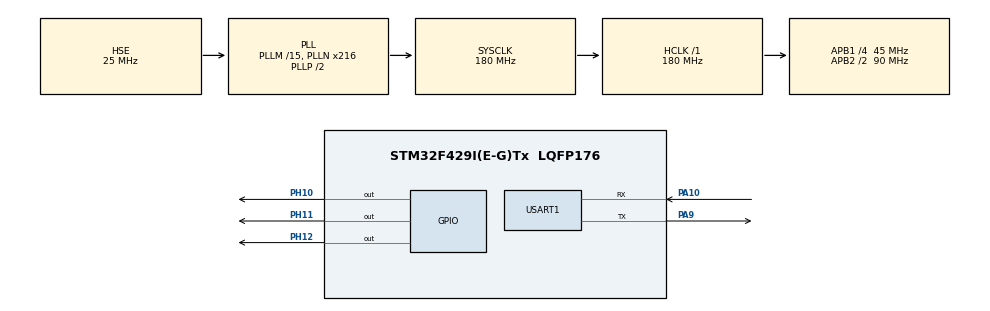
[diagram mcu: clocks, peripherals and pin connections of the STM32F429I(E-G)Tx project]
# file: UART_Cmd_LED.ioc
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Dma.Request0=USART1_RX
Dma.Request1=USART1_TX
Dma.USART1_RX.0.Direction=DMA_PERIPH_TO_MEMORY
Dma.USART1_RX.0.FIFOMode=DMA_FIFOMODE_DISABLE
Dma.USART1_RX.0.Instance=DMA2_Stream2
Dma.USART1_RX.0.MemDataAlignment=DMA_MDATAALIGN_BYTE
Dma.USART1_RX.0.MemInc=DMA_MINC_ENABLE
Dma.USART1_RX.0.Mode=DMA_NORMAL
Dma.USART1_RX.0.PeriphDataAlignment=DMA_PDATAALIGN_BYTE
Dma.USART1_RX.0.PeriphInc=DMA_PINC_DISABLE
Dma.USART1_RX.0.Priority=DMA_PRIORITY_LOW
Dma.USART1_TX.1.Direction=DMA_MEMORY_TO_PERIPH
Dma.USART1_TX.1.FIFOMode=DMA_FIFOMODE_DISABLE
Dma.USART1_TX.1.Instance=DMA2_Stream7
Dma.USART1_TX.1.MemDataAlignment=DMA_MDATAALIGN_BYTE
Dma.USART1_TX.1.MemInc=DMA_MINC_ENABLE
Dma.USART1_TX.1.Mode=DMA_NORMAL
Dma.USART1_TX.1.PeriphDataAlignment=DMA_PDATAALIGN_BYTE
Dma.USART1_TX.1.PeriphInc=DMA_PINC_DISABLE
Dma.USART1_TX.1.Priority=DMA_PRIORITY_LOW
Mcu.Family=STM32F4
Mcu.Name=STM32F429I(E-G)Tx
Mcu.Package=LQFP176
NVIC.DMA2_Stream2_IRQn=true\:0\:0\:false\:false\:true\:false\:true\:true
NVIC.DMA2_Stream7_IRQn=true\:0\:0\:false\:false\:true\:false\:true\:true
NVIC.PriorityGroup=NVIC_PRIORITYGROUP_4
NVIC.USART1_IRQn=true\:0\:0\:false\:false\:true\:false\:true\:true
PA10.Mode=Asynchronous
PA10.Signal=USART1_RX
PA9.Mode=Asynchronous
PA9.Signal=USART1_TX
PH0/OSC_IN.Mode=HSE-External-Oscillator
PH0/OSC_IN.Signal=RCC_OSC_IN
PH1/OSC_OUT.Mode=HSE-External-Oscillator
PH1/OSC_OUT.Signal=RCC_OSC_OUT
PH10.Signal=GPIO_Output
PH11.Signal=GPIO_Output
PH12.Signal=GPIO_Output
ProjectManager.HeapSize=0x200
ProjectManager.StackSize=0x400
ProjectManager.TargetToolchain=MDK-ARM V5.32
RCC.48MHZClocksFreq_Value=90000000
RCC.AHBFreq_Value=180000000
RCC.APB1CLKDivider=RCC_HCLK_DIV4
RCC.APB1Freq_Value=45000000
RCC.APB1TimFreq_Value=90000000
RCC.APB2CLKDivider=RCC_HCLK_DIV2
RCC.APB2Freq_Value=90000000
RCC.APB2TimFreq_Value=180000000
RCC.CortexFreq_Value=180000000
RCC.HCLKFreq_Value=180000000
RCC.HSE_VALUE=25000000
RCC.HSI_VALUE=16000000
RCC.LSE_VALUE=32768
RCC.PLLM=15
RCC.PLLN=216
RCC.PLLSourceVirtual=RCC_PLLSOURCE_HSE
RCC.SYSCLKFreq_VALUE=180000000
RCC.SYSCLKSource=RCC_SYSCLKSOURCE_PLLCLK
RCC.VCOOutputFreq_Value=360000000
USART1.VirtualMode=VM_ASYNC
board=custom

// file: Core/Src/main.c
/* USER CODE BEGIN Header */
/**
 ******************************************************************************
 * @file           : main.c
 * @brief          : Main program body
 ******************************************************************************
 * @attention
 *
 * Copyright (c) 2026 STMicroelectronics.
 * All rights reserved.
 *
 * This software is licensed under terms that can be found in the LICENSE file
 * in the root directory of this software component.
 * If no LICENSE file comes with this software, it is provided AS-IS.
 *
 ******************************************************************************
 */
/* USER CODE END Header */
#include "main.h"
#include <ctype.h>
#include <stdio.h>
#include <string.h>

UART_HandleTypeDef huart1;
DMA_HandleTypeDef hdma_usart1_rx;
DMA_HandleTypeDef hdma_usart1_tx;

/* USER CODE BEGIN PV */
uint8_t rx_buf[64];
volatile uint8_t cmd_ready = 0; /* 收到一帧命令的标志 */
volatile uint16_t cmd_len = 0;  /* 这帧有多少字节 */
uint8_t led_state[4] = {0};     /* [1]=红灯 [2]=绿灯 [3]=蓝灯; 0=灭 1=亮 */
uint8_t mode = 0;               /* 0=STOP  1=BLINK  2=MARQUEE */
uint32_t mode_last_ms = 0;      /* 上次更新灯的时刻 */
uint8_t blink_on = 0;           /* 闪烁相位 */
uint8_t marquee_pos = 1;        /* 跑马灯位置 1/2/3 */

/* USER CODE END PV */

void SystemClock_Config(void);
static void MX_GPIO_Init(void);
static void MX_DMA_Init(void);
static void MX_USART1_UART_Init(void);

/* USER CODE BEGIN 0 */

/* 点亮第 n 个灯：n = 1 → PH10，n = 2 → PH11，n = 3 → PH12 */
void LED_On(uint8_t n) {
    if (n < 1 || n > 3)
        return;
    /* n = 1/2/3 对应 PH10/PH11/PH12，所以引脚号 = 9 + n */
    GPIOH->BSRR = (1u << (9 + n + 16));
    led_state[n] = 1;
}

/* 熄灭第 n 个灯 */
void LED_Off(uint8_t n) {
    if (n < 1 || n > 3)
        return;
    GPIOH->BSRR = (1u << (9 + n));
    led_state[n] = 0;
}
/* 发送一个字符串 */
void send_str(const char *s) {
    HAL_UART_Transmit(&huart1, (uint8_t *)s, strlen(s), 100);
}
void LED_AllOn(void) {
    LED_On(1);
    LED_On(2);
    LED_On(3);
}
void LED_AllOff(void) {
    LED_Off(1);
    LED_Off(2);
    LED_Off(3);
}
void Mode_Update(void) {
    if (mode == 0)
        return; /* STOP：不做事 */

    if (HAL_GetTick() - mode_last_ms < 300)
        return; /* ★ 时间没到，立刻返回 */
    mode_last_ms = HAL_GetTick();

    if (mode == 1) /* ---- BLINK：三个灯一起闪 ---- */
    {
        blink_on = !blink_on; /* 翻转相位 */
        if (blink_on) {
            LED_AllOn();
        } else {
            LED_AllOff();
        }
    } else if (mode == 2) /* ---- MARQUEE：跑马灯 ---- */
    {
        LED_AllOff();        /* 先全灭 */
        LED_On(marquee_pos); /* 只点亮当前那个 */
        marquee_pos++;       /* 换下一个 */
        if (marquee_pos > 3) {
            marquee_pos = 1; /* 1→2→3→回到 1 */
        }
    }
}

/* USER CODE END 0 */

int main(void) {

    /* MCU Configuration--------------------------------------------------------*/

    /* Reset of all peripherals, Initializes the Flash interface and the Systick. */
    HAL_Init();

    /* Configure the system clock */
    SystemClock_Config();

    /* Initialize all configured peripherals */
    MX_GPIO_Init();
    MX_DMA_Init();
    MX_USART1_UART_Init();
    /* USER CODE BEGIN 2 */
    HAL_UARTEx_ReceiveToIdle_DMA(&huart1, rx_buf, sizeof(rx_buf));
    LED_AllOff();

    /* USER CODE END 2 */

    /* Infinite loop */
    while (1) {

        /* USER CODE BEGIN 3 */
        /* 把命令里的小写字母全转成大写，这样就"不区分大小写"了 */

        if (cmd_ready) {
            /* 去掉末尾的 \r \n */
            while (cmd_len > 0 && (rx_buf[cmd_len - 1] == '\r' || rx_buf[cmd_len - 1] == '\n')) {
                cmd_len--;
            }
            /* 补上字符串结束符 */
            rx_buf[cmd_len] = '\0';
            for (int i = 0; i < cmd_len; i++) {
                rx_buf[i] = toupper(rx_buf[i]);
            }

            if (strcmp((char *)rx_buf, "LED1 ON") == 0) {
                LED_On(1);
                send_str("LED1 ON OK\r\n");
            } else if (strcmp((char *)rx_buf, "LED1 OFF") == 0) {
                LED_Off(1);
                send_str("LED1 OFF OK\r\n");
            } else if (strcmp((char *)rx_buf, "LED2 ON") == 0) {
                LED_On(2);
                send_str("LED2 ON OK\r\n");
            } else if (strcmp((char *)rx_buf, "LED2 OFF") == 0) {
                LED_Off(2);
                send_str("LED2 OFF OK\r\n");
            } else if (strcmp((char *)rx_buf, "LED3 ON") == 0) {
                LED_On(3);
                send_str("LED3 ON OK\r\n");
            } else if (strcmp((char *)rx_buf, "LED3 OFF") == 0) {
                LED_Off(3);
                send_str("LED3 OFF OK\r\n");
            } else if (strcmp((char *)rx_buf, "ALL ON") == 0) {
                LED_AllOn();
                send_str("ALL ON OK\r\n");
            } else if (strcmp((char *)rx_buf, "ALL OFF") == 0) {
                LED_AllOff();
                send_str("ALL OFF OK\r\n");
            } else if (strcmp((char *)rx_buf, "HELP") == 0) {
                send_str("===== Commands =====\r\n");
                send_str("LED1 ON  / LED1 OFF\r\n");
                send_str("LED2 ON  / LED2 OFF\r\n");
                send_str("LED3 ON  / LED3 OFF\r\n");
                send_str("ALL ON   / ALL OFF\r\n");
                send_str("STATUS\r\n");
                send_str("MODE BLINK\r\n");
                send_str("MODE MARQUEE\r\n");
                send_str("MODE STOP\r\n");
                send_str("HELP\r\n");
            } else if (strcmp((char *)rx_buf, "STATUS") == 0) {
                char buf[64];
                sprintf(buf, "LED1:%s  LED2:%s  LED3:%s\r\n",
                        led_state[1] ? "ON" : "OFF",
                        led_state[2] ? "ON" : "OFF",
                        led_state[3] ? "ON" : "OFF");
                send_str(buf);
            } else if (strcmp((char *)rx_buf, "MODE BLINK") == 0) {
                mode = 1;
                mode_last_ms = HAL_GetTick(); /* 重置计时，避免刚进模式就立刻动一次 */
                send_str("MODE BLINK\r\n");
            } else if (strcmp((char *)rx_buf, "MODE MARQUEE") == 0) {
                mode = 2;
                mode_last_ms = HAL_GetTick();
                send_str("MODE MARQUEE\r\n");
            } else if (strcmp((char *)rx_buf, "MODE STOP") == 0) {
                mode = 0;
                send_str("MODE STOP\r\n");
            } else {
                send_str("ERROR\r\n");
            }

            cmd_ready = 0;
        }
        Mode_Update();
    }

    /* USER CODE END 3 */
}

void SystemClock_Config(void) {
    RCC_OscInitTypeDef RCC_OscInitStruct = {0};
    RCC_ClkInitTypeDef RCC_ClkInitStruct = {0};

    /** Configure the main internal regulator output voltage
     */
    __HAL_RCC_PWR_CLK_ENABLE();
    __HAL_PWR_VOLTAGESCALING_CONFIG(PWR_REGULATOR_VOLTAGE_SCALE1);

    /** Initializes the RCC Oscillators according to the specified parameters
     * in the RCC_OscInitTypeDef structure.
     */
    RCC_OscInitStruct.OscillatorType = RCC_OSCILLATORTYPE_HSE;
    RCC_OscInitStruct.HSEState = RCC_HSE_ON;
    RCC_OscInitStruct.PLL.PLLState = RCC_PLL_ON;
    RCC_OscInitStruct.PLL.PLLSource = RCC_PLLSOURCE_HSE;
    RCC_OscInitStruct.PLL.PLLM = 15;
    RCC_OscInitStruct.PLL.PLLN = 216;
    RCC_OscInitStruct.PLL.PLLP = RCC_PLLP_DIV2;
    RCC_OscInitStruct.PLL.PLLQ = 4;
    if (HAL_RCC_OscConfig(&RCC_OscInitStruct) != HAL_OK) {
        Error_Handler();
    }

    /** Activate the Over-Drive mode
     */
    if (HAL_PWREx_EnableOverDrive() != HAL_OK) {
        Error_Handler();
    }

    /** Initializes the CPU, AHB and APB buses clocks
     */
    RCC_ClkInitStruct.ClockType = RCC_CLOCKTYPE_HCLK | RCC_CLOCKTYPE_SYSCLK | RCC_CLOCKTYPE_PCLK1 | RCC_CLOCKTYPE_PCLK2;
    RCC_ClkInitStruct.SYSCLKSource = RCC_SYSCLKSOURCE_PLLCLK;
    RCC_ClkInitStruct.AHBCLKDivider = RCC_SYSCLK_DIV1;
    RCC_ClkInitStruct.APB1CLKDivider = RCC_HCLK_DIV4;
    RCC_ClkInitStruct.APB2CLKDivider = RCC_HCLK_DIV2;

    if (HAL_RCC_ClockConfig(&RCC_ClkInitStruct, FLASH_LATENCY_5) != HAL_OK) {
        Error_Handler();
    }
}

static void MX_USART1_UART_Init(void) {

    huart1.Instance = USART1;
    huart1.Init.BaudRate = 115200;
    huart1.Init.WordLength = UART_WORDLENGTH_8B;
    huart1.Init.StopBits = UART_STOPBITS_1;
    huart1.Init.Parity = UART_PARITY_NONE;
    huart1.Init.Mode = UART_MODE_TX_RX;
    huart1.Init.HwFlowCtl = UART_HWCONTROL_NONE;
    huart1.Init.OverSampling = UART_OVERSAMPLING_16;
    if (HAL_UART_Init(&huart1) != HAL_OK) {
        Error_Handler();
    }
}

static void MX_DMA_Init(void) {

    /* DMA controller clock enable */
    __HAL_RCC_DMA2_CLK_ENABLE();

    /* DMA interrupt init */
    /* DMA2_Stream2_IRQn interrupt configuration */
    HAL_NVIC_SetPriority(DMA2_Stream2_IRQn, 0, 0);
    HAL_NVIC_EnableIRQ(DMA2_Stream2_IRQn);
    /* DMA2_Stream7_IRQn interrupt configuration */
    HAL_NVIC_SetPriority(DMA2_Stream7_IRQn, 0, 0);
    HAL_NVIC_EnableIRQ(DMA2_Stream7_IRQn);
}

static void MX_GPIO_Init(void) {
    GPIO_InitTypeDef GPIO_InitStruct = {0};

    /* GPIO Ports Clock Enable */
    __HAL_RCC_GPIOH_CLK_ENABLE();
    __HAL_RCC_GPIOA_CLK_ENABLE();

    /*Configure GPIO pin Output Level */
    HAL_GPIO_WritePin(GPIOH, GPIO_PIN_10 | GPIO_PIN_11 | GPIO_PIN_12, GPIO_PIN_RESET);

    /*Configure GPIO pins : PH10 PH11 PH12 */
    GPIO_InitStruct.Pin = GPIO_PIN_10 | GPIO_PIN_11 | GPIO_PIN_12;
    GPIO_InitStruct.Mode = GPIO_MODE_OUTPUT_PP;
    GPIO_InitStruct.Pull = GPIO_NOPULL;
    GPIO_InitStruct.Speed = GPIO_SPEED_FREQ_LOW;
    HAL_GPIO_Init(GPIOH, &GPIO_InitStruct);

}

/* USER CODE BEGIN 4 */
void HAL_UARTEx_RxEventCallback(UART_HandleTypeDef *huart, uint16_t Size) {
    if (huart == &huart1) {
        cmd_len = Size;
        cmd_ready = 1; /* ★ 只置标志，不走别的 */
        HAL_UARTEx_ReceiveToIdle_DMA(&huart1, rx_buf, sizeof(rx_buf));
    }
}

/* USER CODE END 4 */

void Error_Handler(void) {
    __disable_irq();
    while (1) {
    }
}
